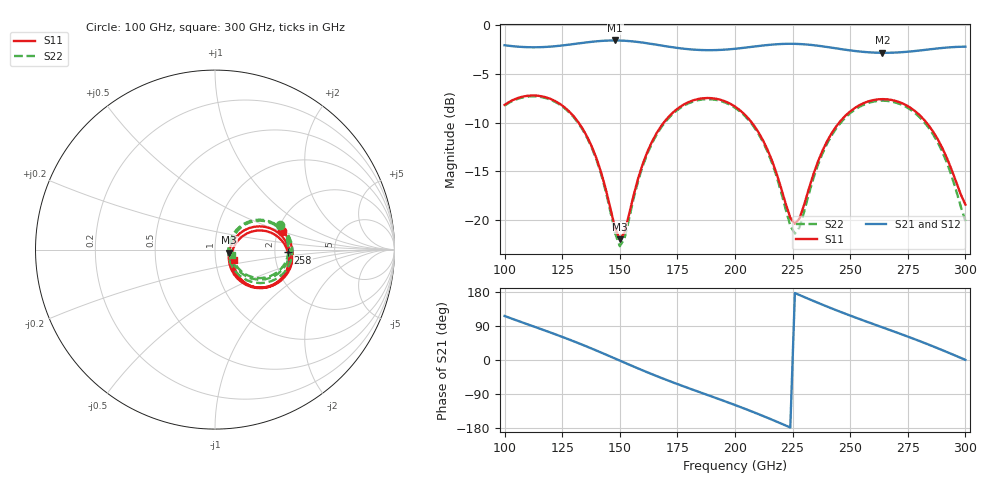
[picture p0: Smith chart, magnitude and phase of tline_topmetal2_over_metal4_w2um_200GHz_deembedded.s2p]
! Created with skrf 2.0.1 (http://scikit-rf.org).
# GHz S DB R 50.0
!freq dBS11 angS11 dBS21 angS21 dBS12 angS12 dBS22 angS22
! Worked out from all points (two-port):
!   101 points, 100 GHz to 300 GHz, reference 50 ohm
!   highest |S21| = -1.59 dB at 148 GHz (marker M1); lowest = -2.9 dB at 264 GHz (marker M2)
!   |S21| within 3 dB of the highest: start of sweep to end of sweep
!   lowest |S11| = -21.9 dB at 150 GHz (marker M3), VSWR 1.17, Z = 58.4 - j2.01 ohm
!   |S11| at or under -10 dB: 132.1 GHz to 169.1 GHz (36.99 GHz wide, 24.6 % of centre); 207.3 GHz to 245.2 GHz (37.98 GHz wide, 16.8 % of centre); 283.1 GHz to end of sweep
!   |S22| runs from -22.7 to -7.3 dB; largest |S21 - S12| = 8.9e-14
!   S11 on the Smith chart (normalised r, x): 100 GHz: 2.12, +0.52; 258 GHz: 2.37, -0.09; 300 GHz: 1.23, -0.14
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100  -8.18 15.4  -2.08 116.1  -2.08 116.1  -8.26 20.4
118  -7.41 -17.5  -2.25 76.7  -2.25 76.7  -7.50 -11.9
134  -10.68 -45.5  -1.83 39.6  -1.83 39.6  -10.78 -39.6
142  -15.18 -52.4  -1.64 19.4  -1.64 19.4  -15.36 -46.9
148  -20.84 -32.5  -1.59 3.7  -1.59 3.7  -21.37 -27.2
150  -21.95 -12.3  -1.60 -1.6  -1.60 -1.6  -22.65 -5.5
152  -21.26 9.1  -1.62 -6.8  -1.62 -6.8  -21.90 17.8
160  -14.21 33.4  -1.81 -27.5  -1.81 -27.5  -14.42 42.8
168  -10.34 24.7  -2.10 -47.2  -2.10 -47.2  -10.48 33.9
184  -7.58 -2.4  -2.55 -83.4  -2.55 -83.4  -7.70 6.9
200  -8.36 -30.1  -2.44 -118.8  -2.44 -118.8  -8.48 -20.7
212  -11.75 -47.9  -2.11 -147.3  -2.11 -147.3  -11.92 -38.8
226  -20.38 -12.3  -1.93 176.7  -1.93 176.7  -21.37 -1.9
234  -15.32 26.0  -2.07 156.0  -2.07 156.0  -15.73 39.9
244  -10.37 19.9  -2.40 131.3  -2.40 131.3  -10.58 33.0
258  -7.82 -2.2  -2.80 99.3  -2.80 99.3  -7.98 10.5
264  -7.59 -12.2  -2.85 86.1  -2.85 86.1  -7.76 0.4
268  -7.68 -18.8  -2.84 77.4  -2.84 77.4  -7.85 -6.4
278  -8.80 -34.9  -2.67 54.9  -2.67 54.9  -8.99 -23.0
286  -10.93 -45.6  -2.46 35.9  -2.46 35.9  -11.21 -34.8
292  -13.64 -48.8  -2.31 20.9  -2.31 20.9  -14.13 -39.5
300  -18.39 -28.1  -2.23 0.4  -2.23 0.4  -20.09 -18.5
